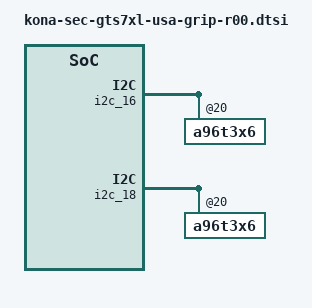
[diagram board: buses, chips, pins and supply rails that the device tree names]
/* Copyright (c) 2016-2017, The Linux Foundation. All rights reserved.
 *
 * This program is free software; you can redistribute it and/or modify
 * it under the terms of the GNU General Public License version 2 and
 * only version 2 as published by the Free Software Foundation.
 *
 * This program is distributed in the hope that it will be useful,
 * but WITHOUT ANY WARRANTY; without even the implied warranty of
 * MERCHANTABILITY or FITNESS FOR A PARTICULAR PURPOSE.  See the
 * GNU General Public License for more details.
 */

/* MAIN GRIP */
&i2c_16 {
	a96t3x6@20 {
		a96t3x6,fw_path = "abov/a96t356_gts7xl_usa_main1.bin";
	};
};

/* WIFI GRIP */
&i2c_18 {
	a96t3x6@20 {
		a96t3x6,fw_path = "abov/a96t356_gts7xl_usa_wifi1.bin";
	};
};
